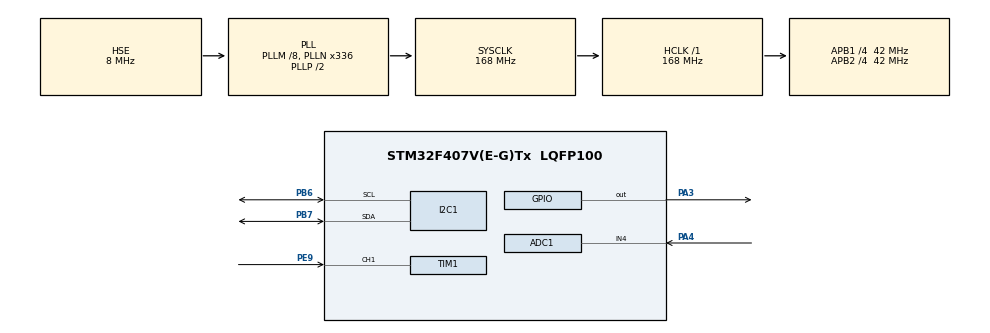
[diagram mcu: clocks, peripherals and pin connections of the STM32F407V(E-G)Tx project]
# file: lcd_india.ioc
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ADC1.Channel-3\#ChannelRegularConversion=ADC_CHANNEL_4
ADC1.ContinuousConvMode=ENABLE
ADC1.DMAContinuousRequests=ENABLE
ADC1.InjNumberOfConversion=0
ADC1.NbrOfConversion=1
ADC1.NbrOfConversionFlag=1
ADC1.Rank-3\#ChannelRegularConversion=1
ADC1.SamplingTime-3\#ChannelRegularConversion=ADC_SAMPLETIME_144CYCLES
ADC1.ScanConvMode=ENABLE
ADC1.master=1
Dma.ADC1.0.Direction=DMA_PERIPH_TO_MEMORY
Dma.ADC1.0.FIFOMode=DMA_FIFOMODE_DISABLE
Dma.ADC1.0.Instance=DMA2_Stream0
Dma.ADC1.0.MemDataAlignment=DMA_MDATAALIGN_HALFWORD
Dma.ADC1.0.MemInc=DMA_MINC_ENABLE
Dma.ADC1.0.Mode=DMA_CIRCULAR
Dma.ADC1.0.PeriphDataAlignment=DMA_PDATAALIGN_HALFWORD
Dma.ADC1.0.PeriphInc=DMA_PINC_DISABLE
Dma.ADC1.0.Priority=DMA_PRIORITY_LOW
Dma.Request0=ADC1
Mcu.Family=STM32F4
Mcu.Name=STM32F407V(E-G)Tx
Mcu.Package=LQFP100
NVIC.DMA2_Stream0_IRQn=true\:0\:0\:false\:false\:true\:false
NVIC.PriorityGroup=NVIC_PRIORITYGROUP_4
NVIC.TIM1_CC_IRQn=true\:0\:0\:false\:false\:true\:true
NVIC.TIM2_IRQn=true\:0\:0\:false\:false\:true\:true
PA3.Signal=GPIO_Output
PA4.Signal=ADCx_IN4
PB6.Mode=I2C
PB6.Signal=I2C1_SCL
PB7.Mode=I2C
PB7.Signal=I2C1_SDA
PE9.Signal=S_TIM1_CH1
PH0-OSC_IN.Mode=HSE-External-Oscillator
PH0-OSC_IN.Signal=RCC_OSC_IN
PH1-OSC_OUT.Mode=HSE-External-Oscillator
PH1-OSC_OUT.Signal=RCC_OSC_OUT
ProjectManager.HeapSize=0x200
ProjectManager.StackSize=0x400
ProjectManager.TargetToolchain=MDK-ARM V5
RCC.48MHZClocksFreq_Value=84000000
RCC.AHBFreq_Value=168000000
RCC.APB1CLKDivider=RCC_HCLK_DIV4
RCC.APB1Freq_Value=42000000
RCC.APB1TimFreq_Value=84000000
RCC.APB2CLKDivider=RCC_HCLK_DIV4
RCC.APB2Freq_Value=42000000
RCC.APB2TimFreq_Value=84000000
RCC.CortexFreq_Value=168000000
RCC.HCLKFreq_Value=168000000
RCC.HSE_VALUE=8000000
RCC.HSI_VALUE=16000000
RCC.LSE_VALUE=32768
RCC.PLLM=8
RCC.PLLN=336
RCC.PLLSourceVirtual=RCC_PLLSOURCE_HSE
RCC.SYSCLKFreq_VALUE=168000000
RCC.SYSCLKSource=RCC_SYSCLKSOURCE_PLLCLK
RCC.VCOOutputFreq_Value=336000000
SH.ADCx_IN4.0=ADC1_IN4,IN4
SH.S_TIM1_CH1.0=TIM1_CH1,Input_Capture1_from_TI1
TIM1.Channel-Input_Capture1_from_TI1=TIM_CHANNEL_1
TIM1.Period=0xffff
TIM1.Prescaler=84-1
TIM2.Period=0xffffffff
TIM2.Prescaler=84-1
VP_TIM1_VS_ClockSourceINT.Mode=Internal
VP_TIM2_VS_ClockSourceINT.Mode=Internal
board=custom

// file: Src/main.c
/* USER CODE BEGIN Header */
/**
  ******************************************************************************
  * @file           : main.c
  * @brief          : Main program body
  ******************************************************************************
  ** This notice applies to any and all portions of this file
  * that are not between comment pairs USER CODE BEGIN and
  * USER CODE END. Other portions of this file, whether
  * inserted by the user or by software development tools
  * are owned by their respective copyright owners.
  *
  * COPYRIGHT(c) 2020 STMicroelectronics
  *
  * Redistribution and use in source and binary forms, with or without modification,
  * are permitted provided that the following conditions are met:
  *   1. Redistributions of source code must retain the above copyright notice,
  *      this list of conditions and the following disclaimer.
  *   2. Redistributions in binary form must reproduce the above copyright notice,
  *      this list of conditions and the following disclaimer in the documentation
  *      and/or other materials provided with the distribution.
  *   3. Neither the name of STMicroelectronics nor the names of its contributors
  *      may be used to endorse or promote products derived from this software
  *      without specific prior written permission.
  *
  * THIS SOFTWARE IS PROVIDED BY THE COPYRIGHT HOLDERS AND CONTRIBUTORS "AS IS"
  * AND ANY EXPRESS OR IMPLIED WARRANTIES, INCLUDING, BUT NOT LIMITED TO, THE
  * IMPLIED WARRANTIES OF MERCHANTABILITY AND FITNESS FOR A PARTICULAR PURPOSE ARE
  * DISCLAIMED. IN NO EVENT SHALL THE COPYRIGHT HOLDER OR CONTRIBUTORS BE LIABLE
  * FOR ANY DIRECT, INDIRECT, INCIDENTAL, SPECIAL, EXEMPLARY, OR CONSEQUENTIAL
  * DAMAGES (INCLUDING, BUT NOT LIMITED TO, PROCUREMENT OF SUBSTITUTE GOODS OR
  * SERVICES; LOSS OF USE, DATA, OR PROFITS; OR BUSINESS INTERRUPTION) HOWEVER
  * CAUSED AND ON ANY THEORY OF LIABILITY, WHETHER IN CONTRACT, STRICT LIABILITY,
  * OR TORT (INCLUDING NEGLIGENCE OR OTHERWISE) ARISING IN ANY WAY OUT OF THE USE
  * OF THIS SOFTWARE, EVEN IF ADVISED OF THE POSSIBILITY OF SUCH DAMAGE.
  *
  ******************************************************************************
  */
/* USER CODE END Header */

#include "main.h"

/* USER CODE BEGIN Includes */
#include "lcd_i2cModule.h"
/* USER CODE END Includes */

ADC_HandleTypeDef hadc1;
DMA_HandleTypeDef hdma_adc1;

I2C_HandleTypeDef hi2c1;

TIM_HandleTypeDef htim1;
TIM_HandleTypeDef htim2;

/* USER CODE BEGIN PV */
float volt;
/* USER CODE END PV */

void SystemClock_Config(void);
static void MX_GPIO_Init(void);
static void MX_DMA_Init(void);
static void MX_I2C1_Init(void);
static void MX_ADC1_Init(void);
static void MX_TIM2_Init(void);
static void MX_TIM1_Init(void);

/* USER CODE BEGIN 0 */
void delay_us(uint32_t time)
{
	__HAL_TIM_SET_COUNTER(&htim2,0);
	while(__HAL_TIM_GET_COUNTER(&htim2)<time);
}

uint32_t IC_Val1=0, IC_Val2=0, diff=0;
uint8_t Is_First_Captured=0;
float distance;
void HAL_TIM_IC_CaptureCallback(TIM_HandleTypeDef *htim)
{
	if(htim->Channel==HAL_TIM_ACTIVE_CHANNEL_1)
	{
		if(Is_First_Captured==0)
		{
			IC_Val1 = HAL_TIM_ReadCapturedValue(&htim1,TIM_CHANNEL_1);
			Is_First_Captured = 1;
			__HAL_TIM_SET_CAPTUREPOLARITY(&htim1,TIM_CHANNEL_1,TIM_INPUTCHANNELPOLARITY_FALLING);
		}
		else if (Is_First_Captured==1)
		{
			IC_Val2 = HAL_TIM_ReadCapturedValue(&htim1,TIM_CHANNEL_1);
			__HAL_TIM_SET_COUNTER(&htim1,0);

			if (IC_Val2>IC_Val1)
			{
				diff = IC_Val2 - IC_Val1;
			}
			else
			{
				diff = IC_Val1 - IC_Val2;
			}
			distance = diff*0.34/2;
			Is_First_Captured = 0;

			__HAL_TIM_SET_CAPTUREPOLARITY(&htim1,TIM_CHANNEL_1,TIM_INPUTCHANNELPOLARITY_RISING);
			__HAL_TIM_DISABLE_IT(&htim1, TIM_IT_CC1);
		}
	}
}

#define HCSR04_PORT 	GPIOA
#define TRIG_PIN 			GPIO_PIN_3
void hcsr04_read_IC(void)
{
	HAL_GPIO_WritePin(HCSR04_PORT,TRIG_PIN,GPIO_PIN_RESET);
	delay_us(3);
	HAL_GPIO_WritePin(HCSR04_PORT,TRIG_PIN,GPIO_PIN_SET);
	delay_us(12);
	HAL_GPIO_WritePin(HCSR04_PORT,TRIG_PIN,GPIO_PIN_RESET);

	__HAL_TIM_ENABLE_IT(&htim1, TIM_IT_CC1);
}
/* USER CODE END 0 */

int main(void)
{

  /* MCU Configuration--------------------------------------------------------*/

  /* Reset of all peripherals, Initializes the Flash interface and the Systick. */
  HAL_Init();

  /* Configure the system clock */
  SystemClock_Config();

  /* Initialize all configured peripherals */
  MX_GPIO_Init();
  MX_DMA_Init();
  MX_I2C1_Init();
  MX_ADC1_Init();
  MX_TIM2_Init();
  MX_TIM1_Init();
  /* USER CODE BEGIN 2 */
	HAL_TIM_Base_Start_IT(&htim2);
	HAL_TIM_IC_Start_IT(&htim1,TIM_CHANNEL_1);

	uint16_t adcValue[1];
	HAL_ADC_Start_DMA(&hadc1,(uint32_t*)adcValue,1);

  LCD_i2cDeviceCheck();
	LCD_Init();
  LCD_BackLight(LCD_BL_ON);

//	int weight=50;
//	float height=1.76;
//	LCD_SetCursor(3,1);
//	LCD_Print_Data("Chieu cao: %.2f m",height);
//	LCD_SetCursor(4,1);
//	LCD_Print_Data("Can nang: %.0f kg",(float)weight);

  /* USER CODE END 2 */

  /* Infinite loop */
  while (1)
  {

    /* USER CODE BEGIN 3 */
		hcsr04_read_IC();
		LCD_Clear();
		LCD_SetCursor(1,1);
		LCD_Print_String("Hi Nguyen Vu Nguyen");
		LCD_SetCursor(2,1);
		LCD_Print_Data("ADC value = %.0f",(float)adcValue[0]);
		volt=adcValue[0]*3.3/4095;
		LCD_SetCursor(3,1);
		LCD_Print_Data("Volt = %.2f V",volt);
		LCD_SetCursor(4,1);
		LCD_Print_Data("Distance = %.2f mm",distance);
		HAL_Delay(500);
  }
  /* USER CODE END 3 */
}

void SystemClock_Config(void)
{
  RCC_OscInitTypeDef RCC_OscInitStruct = {0};
  RCC_ClkInitTypeDef RCC_ClkInitStruct = {0};

  /**Configure the main internal regulator output voltage
  */
  __HAL_RCC_PWR_CLK_ENABLE();
  __HAL_PWR_VOLTAGESCALING_CONFIG(PWR_REGULATOR_VOLTAGE_SCALE1);
  /**Initializes the CPU, AHB and APB busses clocks
  */
  RCC_OscInitStruct.OscillatorType = RCC_OSCILLATORTYPE_HSE;
  RCC_OscInitStruct.HSEState = RCC_HSE_ON;
  RCC_OscInitStruct.PLL.PLLState = RCC_PLL_ON;
  RCC_OscInitStruct.PLL.PLLSource = RCC_PLLSOURCE_HSE;
  RCC_OscInitStruct.PLL.PLLM = 8;
  RCC_OscInitStruct.PLL.PLLN = 336;
  RCC_OscInitStruct.PLL.PLLP = RCC_PLLP_DIV2;
  RCC_OscInitStruct.PLL.PLLQ = 4;
  if (HAL_RCC_OscConfig(&RCC_OscInitStruct) != HAL_OK)
  {
    Error_Handler();
  }
  /**Initializes the CPU, AHB and APB busses clocks
  */
  RCC_ClkInitStruct.ClockType = RCC_CLOCKTYPE_HCLK|RCC_CLOCKTYPE_SYSCLK
                              |RCC_CLOCKTYPE_PCLK1|RCC_CLOCKTYPE_PCLK2;
  RCC_ClkInitStruct.SYSCLKSource = RCC_SYSCLKSOURCE_PLLCLK;
  RCC_ClkInitStruct.AHBCLKDivider = RCC_SYSCLK_DIV1;
  RCC_ClkInitStruct.APB1CLKDivider = RCC_HCLK_DIV4;
  RCC_ClkInitStruct.APB2CLKDivider = RCC_HCLK_DIV4;

  if (HAL_RCC_ClockConfig(&RCC_ClkInitStruct, FLASH_LATENCY_5) != HAL_OK)
  {
    Error_Handler();
  }
}

static void MX_ADC1_Init(void)
{

  ADC_ChannelConfTypeDef sConfig = {0};

  /**Configure the global features of the ADC (Clock, Resolution, Data Alignment and number of conversion)
  */
  hadc1.Instance = ADC1;
  hadc1.Init.ClockPrescaler = ADC_CLOCK_SYNC_PCLK_DIV2;
  hadc1.Init.Resolution = ADC_RESOLUTION_12B;
  hadc1.Init.ScanConvMode = ENABLE;
  hadc1.Init.ContinuousConvMode = ENABLE;
  hadc1.Init.DiscontinuousConvMode = DISABLE;
  hadc1.Init.ExternalTrigConvEdge = ADC_EXTERNALTRIGCONVEDGE_NONE;
  hadc1.Init.ExternalTrigConv = ADC_SOFTWARE_START;
  hadc1.Init.DataAlign = ADC_DATAALIGN_RIGHT;
  hadc1.Init.NbrOfConversion = 1;
  hadc1.Init.DMAContinuousRequests = ENABLE;
  hadc1.Init.EOCSelection = ADC_EOC_SINGLE_CONV;
  if (HAL_ADC_Init(&hadc1) != HAL_OK)
  {
    Error_Handler();
  }
  /**Configure for the selected ADC regular channel its corresponding rank in the sequencer and its sample time.
  */
  sConfig.Channel = ADC_CHANNEL_4;
  sConfig.Rank = 1;
  sConfig.SamplingTime = ADC_SAMPLETIME_144CYCLES;
  if (HAL_ADC_ConfigChannel(&hadc1, &sConfig) != HAL_OK)
  {
    Error_Handler();
  }

}

static void MX_I2C1_Init(void)
{

  hi2c1.Instance = I2C1;
  hi2c1.Init.ClockSpeed = 100000;
  hi2c1.Init.DutyCycle = I2C_DUTYCYCLE_2;
  hi2c1.Init.OwnAddress1 = 0;
  hi2c1.Init.AddressingMode = I2C_ADDRESSINGMODE_7BIT;
  hi2c1.Init.DualAddressMode = I2C_DUALADDRESS_DISABLE;
  hi2c1.Init.OwnAddress2 = 0;
  hi2c1.Init.GeneralCallMode = I2C_GENERALCALL_DISABLE;
  hi2c1.Init.NoStretchMode = I2C_NOSTRETCH_DISABLE;
  if (HAL_I2C_Init(&hi2c1) != HAL_OK)
  {
    Error_Handler();
  }

}

static void MX_TIM1_Init(void)
{

  TIM_ClockConfigTypeDef sClockSourceConfig = {0};
  TIM_MasterConfigTypeDef sMasterConfig = {0};
  TIM_IC_InitTypeDef sConfigIC = {0};

  htim1.Instance = TIM1;
  htim1.Init.Prescaler = 84-1;
  htim1.Init.CounterMode = TIM_COUNTERMODE_UP;
  htim1.Init.Period = 0xffff;
  htim1.Init.ClockDivision = TIM_CLOCKDIVISION_DIV1;
  htim1.Init.RepetitionCounter = 0;
  if (HAL_TIM_Base_Init(&htim1) != HAL_OK)
  {
    Error_Handler();
  }
  sClockSourceConfig.ClockSource = TIM_CLOCKSOURCE_INTERNAL;
  if (HAL_TIM_ConfigClockSource(&htim1, &sClockSourceConfig) != HAL_OK)
  {
    Error_Handler();
  }
  if (HAL_TIM_IC_Init(&htim1) != HAL_OK)
  {
    Error_Handler();
  }
  sMasterConfig.MasterOutputTrigger = TIM_TRGO_RESET;
  sMasterConfig.MasterSlaveMode = TIM_MASTERSLAVEMODE_DISABLE;
  if (HAL_TIMEx_MasterConfigSynchronization(&htim1, &sMasterConfig) != HAL_OK)
  {
    Error_Handler();
  }
  sConfigIC.ICPolarity = TIM_INPUTCHANNELPOLARITY_RISING;
  sConfigIC.ICSelection = TIM_ICSELECTION_DIRECTTI;
  sConfigIC.ICPrescaler = TIM_ICPSC_DIV1;
  sConfigIC.ICFilter = 0;
  if (HAL_TIM_IC_ConfigChannel(&htim1, &sConfigIC, TIM_CHANNEL_1) != HAL_OK)
  {
    Error_Handler();
  }

}

static void MX_TIM2_Init(void)
{

  TIM_ClockConfigTypeDef sClockSourceConfig = {0};
  TIM_MasterConfigTypeDef sMasterConfig = {0};

  htim2.Instance = TIM2;
  htim2.Init.Prescaler = 84-1;
  htim2.Init.CounterMode = TIM_COUNTERMODE_UP;
  htim2.Init.Period = 0xffffffff;
  htim2.Init.ClockDivision = TIM_CLOCKDIVISION_DIV1;
  if (HAL_TIM_Base_Init(&htim2) != HAL_OK)
  {
    Error_Handler();
  }
  sClockSourceConfig.ClockSource = TIM_CLOCKSOURCE_INTERNAL;
  if (HAL_TIM_ConfigClockSource(&htim2, &sClockSourceConfig) != HAL_OK)
  {
    Error_Handler();
  }
  sMasterConfig.MasterOutputTrigger = TIM_TRGO_RESET;
  sMasterConfig.MasterSlaveMode = TIM_MASTERSLAVEMODE_DISABLE;
  if (HAL_TIMEx_MasterConfigSynchronization(&htim2, &sMasterConfig) != HAL_OK)
  {
    Error_Handler();
  }

}

static void MX_DMA_Init(void)
{
  /* DMA controller clock enable */
  __HAL_RCC_DMA2_CLK_ENABLE();

  /* DMA interrupt init */
  /* DMA2_Stream0_IRQn interrupt configuration */
  HAL_NVIC_SetPriority(DMA2_Stream0_IRQn, 0, 0);
  HAL_NVIC_EnableIRQ(DMA2_Stream0_IRQn);

}

static void MX_GPIO_Init(void)
{
  GPIO_InitTypeDef GPIO_InitStruct = {0};

  /* GPIO Ports Clock Enable */
  __HAL_RCC_GPIOH_CLK_ENABLE();
  __HAL_RCC_GPIOA_CLK_ENABLE();
  __HAL_RCC_GPIOE_CLK_ENABLE();
  __HAL_RCC_GPIOB_CLK_ENABLE();

  /*Configure GPIO pin Output Level */
  HAL_GPIO_WritePin(GPIOA, GPIO_PIN_3, GPIO_PIN_RESET);

  /*Configure GPIO pin : PA3 */
  GPIO_InitStruct.Pin = GPIO_PIN_3;
  GPIO_InitStruct.Mode = GPIO_MODE_OUTPUT_PP;
  GPIO_InitStruct.Pull = GPIO_NOPULL;
  GPIO_InitStruct.Speed = GPIO_SPEED_FREQ_LOW;
  HAL_GPIO_Init(GPIOA, &GPIO_InitStruct);

}

void Error_Handler(void)
{
}

/************************ (C) COPYRIGHT STMicroelectronics *****END OF FILE****/
